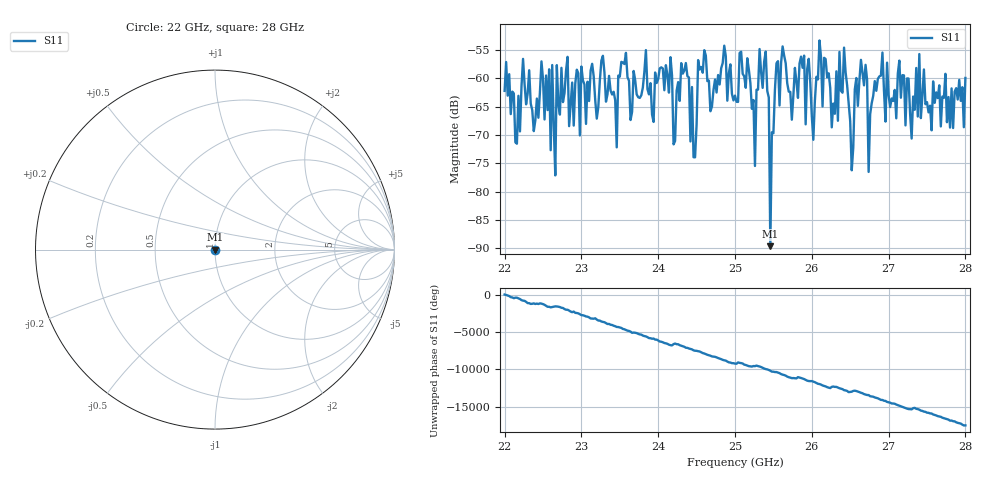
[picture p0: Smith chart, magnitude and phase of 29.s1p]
#  HZ  S  RI  R  50.00
! Rohde & Schwarz ZVA40 4Ports - Version 3.90 - 1145.1110k42 SN: 100403
! Date: 2023-10-04 11:35:16
! Measurement: S12
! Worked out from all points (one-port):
!   301 points, 22 GHz to 28 GHz, reference 50 ohm
!   lowest |S11| = -89.7 dB at 25.46 GHz (marker M1), VSWR 1.00, Z = 50 - j0.00329 ohm
!   |S11| at or under -10 dB: start of sweep to end of sweep
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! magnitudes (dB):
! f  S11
! 22 GHz  -62.2
! 22.58 GHz  -58.4
! 22.6 GHz  -72.7
! 22.62 GHz  -57.7
! 22.66 GHz  -77.2
! 22.68 GHz  -57.7
! 22.76 GHz  -64.2
! 23.28 GHz  -56.0
! 23.46 GHz  -72.2
! 23.5 GHz  -59.7
! 24.26 GHz  -60.7
! 24.46 GHz  -73.9
! 24.6 GHz  -55.0
! 25 GHz  -63.1
! 25.16 GHz  -56.5
! 25.26 GHz  -75.5
! 25.4 GHz  -55.3
! 25.46 GHz  -89.7
! 25.54 GHz  -57.3
! 25.76 GHz  -63.0
! 25.96 GHz  -56.6
! 26.02 GHz  -70.9
! 26.1 GHz  -53.3
! 26.26 GHz  -68.7
! 26.42 GHz  -54.6
! 26.5 GHz  -67.6
! 27.26 GHz  -60.0
! 28 GHz  -59.9
